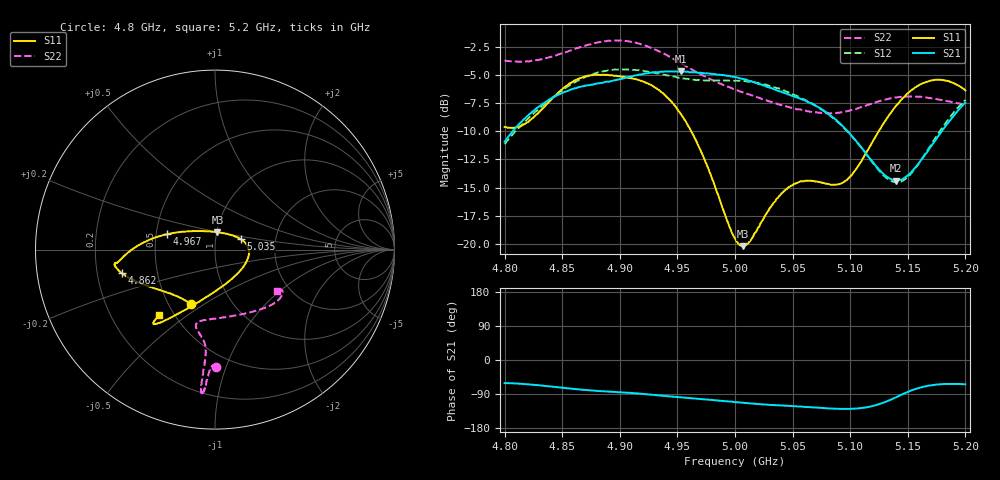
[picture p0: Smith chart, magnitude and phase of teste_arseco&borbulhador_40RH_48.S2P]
! Network Analyzer HP8722D
! Hewlett-Packard
! Data name: Linha & Wilkinson
! Saver's name: Rodrigo Anjos
! Comments: Teste da utilização de aquisição
! continua pelo VNA HP8722D
! Time and date: 15/4/2025 16:45
!  Frequency  S11  S21  S12  S22
# HZ  S  MA R 50
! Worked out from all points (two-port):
!   401 points, 4.8 GHz to 5.2 GHz, reference 50 ohm
!   highest |S21| = -4.64 dB at 4.953 GHz (marker M1); lowest = -14.4 dB at 5.14 GHz (marker M2)
!   |S21| within 3 dB of the highest: 4.832 GHz to 5.069 GHz (237.2 MHz wide, 4.79 % of centre); 5.198053 GHz to end of sweep
!   lowest |S11| = -20.2 dB at 5.007 GHz (marker M3), VSWR 1.22, Z = 50.4 + j9.82 ohm
!   |S11| at or under -10 dB: 4.962 GHz to 5.125 GHz (162.7 MHz wide, 3.23 % of centre)
!   |S22| runs from -8.4 to -1.9 dB; largest |S21 - S12| = 0.88
!   S11 on the Smith chart (normalised r, x): 4.8 GHz: 0.65, -0.44; 4.862 GHz: 0.31, -0.11; 4.967 GHz: 0.57, +0.11; 5.035 GHz: 1.32, +0.16; 5.2 GHz: 0.41, -0.39
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4.8e9  0.3311 -114.0  0.285 -60.9  0.2775 -175.1  0.6539 -89.6
4.819e9  0.3457 -133.8  0.367 -64.0  0.3547 -173.4  0.6492 -91.3
4.862e9  0.5366 -165.9  0.4925 -76.9  0.5266 -176.5  0.7412 -93.7
4.867e9  0.5496 -167.9  0.5017 -78.3  0.5434 -177.5  0.7547 -93.9
4.902e9  0.5536 -172.4  0.5428 -85.5  0.5976 175.1  0.8021 -95.3
4.934e9  0.4833 -178.3  0.5814 -93.5  0.5727 171.8  0.7187 -95.7
4.953e9  0.3772 172.2  0.5862 -98.6  0.5465 172.6  0.6375 -95.1
4.967e9  0.2823 162.3  0.5786 -102.3  0.5356 173.9  0.5785 -95.1
5e9  0.1058 106.0  0.5511 -111.1  0.5322 176.3  0.4856 -99.4
5.007e9  0.09745 82.1  0.5416 -112.6  0.5299 176.2  0.4712 -100.9
5.014e9  0.1042 59.8  0.5304 -114.7  0.5256 176.1  0.4586 -102.6
5.035e9  0.1544 22.1  0.4857 -119.0  0.4954 175.1  0.4211 -103.7
5.05e9  0.182 6.3  0.4548 -121.8  0.4633 174.3  0.403 -100.5
5.067e9  0.1902 -12.2  0.4197 -124.8  0.4209 174.0  0.3849 -91.7
5.086e9  0.183 -42.6  0.3627 -128.4  0.3593 173.7  0.3816 -77.5
5.097e9  0.1917 -65.7  0.3191 -129.0  0.3191 174.5  0.3889 -68.4
5.134e9  0.3748 -116.4  0.1953 -106.3  0.1917 -159.1  0.4427 -43.4
5.14e9  0.4126 -120.0  0.191 -98.0  0.1879 -149.7  0.4474 -40.7
5.152e9  0.4763 -124.8  0.2056 -81.8  0.2026 -131.0  0.4525 -36.3
5.17e9  0.5322 -128.8  0.2702 -66.9  0.2749 -112.9  0.4449 -32.1
5.184e9  0.5311 -130.1  0.3409 -63.2  0.3515 -107.2  0.4315 -31.2
5.2e9  0.4815 -130.6  0.425 -64.2  0.4369 -106.3  0.4158 -33.5
